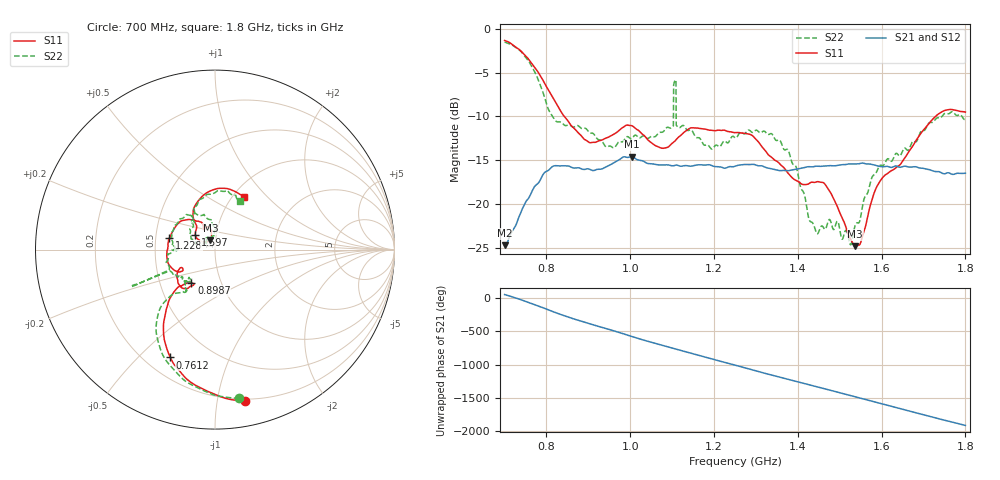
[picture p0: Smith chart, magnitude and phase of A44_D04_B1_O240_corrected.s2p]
! Created with skrf 1.9.0 (http://scikit-rf.org).
# Hz S RI R 50.0
!freq ReS11 ImS11 ReS21 ImS21 ReS12 ImS12 ReS22 ImS22
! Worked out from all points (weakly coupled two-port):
!   1601 points, 700 MHz to 1.8 GHz, reference 50 ohm
!   highest |S21| = -14.60 dB at 1.003 GHz (marker M1); lowest = -24.7 dB at 700.7 MHz (marker M2)
!   lowest |S11| = -24.8 dB at 1.537 GHz (marker M3), VSWR 1.12, Z = 47.3 + j4.89 ohm
!   |S11| at or under -10 dB: 842.4 MHz to 1.729 GHz (886.3 MHz wide, 68.9 % of centre)
!   |S22| runs from -24.6 to -1.5 dB; largest |S21 - S12| = 0.0033
!   S11 on the Smith chart (normalised r, x): 700 MHz: 0.19, -1.20; 761.2 MHz: 0.30, -0.63; 898.7 MHz: 0.72, -0.28; 1.228 GHz: 0.59, +0.08; 1.597 GHz: 0.79, +0.13; 1.8 GHz: 1.13, +0.74
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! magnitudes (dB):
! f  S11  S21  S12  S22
! 700 MHz  -1.3  -24.7  -24.5  -1.5
! 700.7 MHz  -1.3  -24.7  -24.4  -1.5
! 761.2 MHz  -3.7  -19.0  -18.9  -4.0
! 818.9 MHz  -8.2  -15.6  -15.7  -10.3
! 883.6 MHz  -12.2  -16.0  -15.9  -11.4
! 898.7 MHz  -12.9  -16.0  -16.0  -11.6
! 1.003 GHz  -11.1  -14.6  -14.7  -12.5
! 1.067 GHz  -13.5  -15.5  -15.5  -11.9
! 1.097 GHz  -13.2  -15.6  -15.6  -11.3
! 1.108 GHz  -12.8  -15.6  -15.6  -5.8
! 1.115 GHz  -12.4  -15.6  -15.7  -11.3
! 1.228 GHz  -11.6  -15.9  -15.8  -12.9
! 1.25 GHz  -11.8  -15.7  -15.6  -12.4
! 1.357 GHz  -15.4  -16.2  -16.1  -12.7
! 1.434 GHz  -17.5  -15.8  -15.7  -22.1
! 1.471 GHz  -18.2  -15.6  -15.6  -22.2
! 1.526 GHz  -24.0  -15.4  -15.4  -24.6
! 1.537 GHz  -24.8  -15.4  -15.4  -22.5
! 1.597 GHz  -17.4  -15.7  -15.7  -15.6
! 1.617 GHz  -16.4  -15.8  -15.7  -14.9
! 1.733 GHz  -9.8  -16.3  -16.3  -10.2
! 1.8 GHz  -9.5  -16.5  -16.5  -10.4
